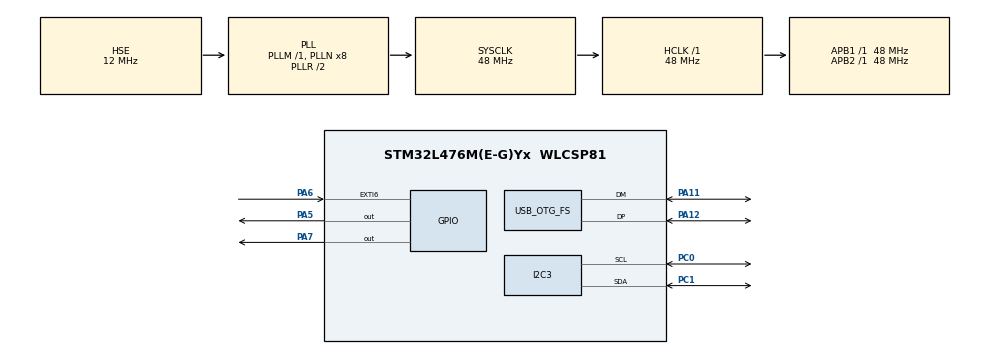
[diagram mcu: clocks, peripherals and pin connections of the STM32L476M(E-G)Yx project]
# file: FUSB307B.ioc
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I2C3.Timing=0x20303E5D
Mcu.Family=STM32L4
Mcu.Name=STM32L476M(E-G)Yx
Mcu.Package=WLCSP81
NVIC.EXTI9_5_IRQn=true\:0\:0\:false\:false\:true\:true\:true
NVIC.PriorityGroup=NVIC_PRIORITYGROUP_4
NVIC.TIM2_IRQn=true\:0\:0\:false\:false\:true\:true\:true
PA11.Mode=Device_Only
PA11.Signal=USB_OTG_FS_DM
PA12.Mode=Device_Only
PA12.Signal=USB_OTG_FS_DP
PA5.Signal=GPIO_Output
PA6.GPIO_ModeDefaultEXTI=GPIO_MODE_IT_FALLING
PA6.Signal=GPXTI6
PA7.Signal=GPIO_Output
PC0.Mode=I2C
PC0.Signal=I2C3_SCL
PC1.Mode=I2C
PC1.Signal=I2C3_SDA
PH0-OSC_IN\ (PH0).Mode=HSE-External-Oscillator
PH0-OSC_IN\ (PH0).Signal=RCC_OSC_IN
PH1-OSC_OUT\ (PH1).Mode=HSE-External-Oscillator
PH1-OSC_OUT\ (PH1).Signal=RCC_OSC_OUT
ProjectManager.HeapSize=0x200
ProjectManager.StackSize=0x400
ProjectManager.TargetToolchain=STM32CubeIDE
RCC.ADCFreq_Value=48000000
RCC.AHBFreq_Value=48000000
RCC.APB1Freq_Value=48000000
RCC.APB1TimFreq_Value=48000000
RCC.APB2Freq_Value=48000000
RCC.APB2TimFreq_Value=48000000
RCC.CortexFreq_Value=48000000
RCC.FLatency-AdvancedSettings=FLASH_LATENCY_0
RCC.HCLKFreq_Value=48000000
RCC.HSE_VALUE=12000000
RCC.HSI_VALUE=16000000
RCC.LSE_VALUE=32768
RCC.MSI_VALUE=4000000
RCC.PLLSourceVirtual=RCC_PLLSOURCE_HSE
RCC.SYSCLKFreq_VALUE=48000000
RCC.SYSCLKSource=RCC_SYSCLKSOURCE_PLLCLK
RCC.USBFreq_Value=48000000
RCC.VCOOutputFreq_Value=96000000
TIM1.AutoReloadPreload=TIM_AUTORELOAD_PRELOAD_DISABLE
TIM1.Period=10000
TIM1.Prescaler=4800
TIM2.AutoReloadPreload=TIM_AUTORELOAD_PRELOAD_DISABLE
TIM2.Period=0xFFFFFFFF
TIM2.Prescaler=48
USB_OTG_FS.VirtualMode=Device_Only
VP_TIM1_VS_ClockSourceINT.Mode=Internal
VP_TIM2_VS_ClockSourceINT.Mode=Internal
VP_TIM3_VS_ClockSourceINT.Mode=Internal
board=custom

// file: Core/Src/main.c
/* USER CODE BEGIN Header */
/**
  ******************************************************************************
  * @file           : main.c
  * @brief          : Main program body
  ******************************************************************************
  * @attention
  *
  * <h2><center>&copy; Copyright (c) 2019 STMicroelectronics.
  * All rights reserved.</center></h2>
  *
  * This software component is licensed by ST under BSD 3-Clause license,
  * the "License"; You may not use this file except in compliance with the
  * License. You may obtain a copy of the License at:
  *                        opensource.org/licenses/BSD-3-Clause
  *
  ******************************************************************************
  */
/* USER CODE END Header */

#include "main.h"

/* USER CODE BEGIN Includes */
#include "FSCTypes.h"
#include "local_platform.h"
#include "port.h"
#include "systempolicy.h"
#include "core.h"
#include "timer.h"
#include "observer.h"
#include "platform.h"
/* USER CODE END Includes */

/* USER CODE BEGIN PD */
#define I2C_ADDRESS_PORT1   0xA0
#define I2C_ADDRESS_PORT2   0xA2
#define I2C_ADDRESS_PORT3   0xA4
/* USER CODE END PD */

I2C_HandleTypeDef hi2c3;

TIM_HandleTypeDef htim1;
TIM_HandleTypeDef htim2;
TIM_HandleTypeDef htim3;

PCD_HandleTypeDef hpcd_USB_OTG_FS;

void SystemClock_Config(void);
static void MX_GPIO_Init(void);
static void MX_I2C3_Init(void);
static void MX_USB_OTG_FS_PCD_Init(void);
static void MX_TIM3_Init(void);
static void MX_TIM2_Init(void);
static void MX_TIM1_Init(void);

/* USER CODE BEGIN 0 */
struct Port g_ports[FSC_NUMBER_OF_PORTS];
volatile FSC_BOOL g_port_active[FSC_NUMBER_OF_PORTS];
volatile FSC_BOOL g_timer_int_active;
FSC_S8 g_IdleIdx;

void WakeOnTimer() {
  FSC_U32 timeout_value;
  FSC_U32 timer_value;
  FSC_U8 j = 0;

  /* Set to the largest value */
  timeout_value = ~0U;
  g_IdleIdx = -1;

  /* Go through all Ports and find the shortest timer  */
  for (j = 0; j < FSC_NUMBER_OF_PORTS; j++) {
    timer_value = core_get_next_timeout(&g_ports[j]);
    /* Get the shortest timer.
     * 0 - No active timer
     * 1 - An active timer has expired, set port to active
     * Other - Set timer interrupt */
    if (timer_value == 0) {
      continue;
    } else if (timer_value == 1) {
      g_ports[j].idle_ = FALSE;
    } else if (timer_value < timeout_value) {
      /* New shorter timer found */
      timeout_value = timer_value;
      g_IdleIdx = j;
    }
  }

  if ((timeout_value < ~0U) &&
      (timeout_value > 0) &&
      (g_IdleIdx > -1)) {
    /* Wake up port[g_IdleIdx] after timeout */
    SetTimeInterrupt(timeout_value);
  }
}
/* USER CODE END 0 */

int main(void)
{

  /* MCU Configuration--------------------------------------------------------*/

  /* Reset of all peripherals, Initializes the Flash interface and the Systick. */
  HAL_Init();

  /* Configure the system clock */
  SystemClock_Config();

  /* Initialize all configured peripherals */
  MX_GPIO_Init();
  MX_I2C3_Init();
  MX_USB_OTG_FS_PCD_Init();
  MX_TIM3_Init();
  MX_TIM2_Init();
  MX_TIM1_Init();
  /* USER CODE BEGIN 2 */
  FSC_U8 i = 0;
  FSC_U32 check_idle = FALSE;

  PlatformInitialize();
  InitializeVars(&g_ports[0], 1, I2C_ADDRESS_PORT1);
  g_port_active[0] = TRUE;

  //FSC_BOOL r = platform_i2c_write(g_ports[0].i2c_addr_, (FSC_U8)0xA2, 1, 1);
  /* USER CODE END 2 */

  /* Infinite loop */
  /* USER CODE BEGIN WHILE */
  while (1) {
     for (i = 0; i < FSC_NUMBER_OF_PORTS; ++i) {
       /* Initializing */
       if (g_ports[i].initialized_ == FALSE) {
         /* If we haven't been initialized yet, wait on the init interrupt */
         if (ReadRegister(&g_ports[i], regPWRSTAT) != FALSE) {
           if (g_ports[i].registers_.PwrStat.TCPC_INIT == 0) {
             /* Chip is ready - initialize and continue. */
        	 HAL_Delay(500);
             InitializePort(&g_ports[i]);
             platform_printf(g_ports[i].port_id_, "Port Initialized.\n", -1);
           }
         }
         continue;
       }

       /* State Machine Processing */
       if (g_port_active[i] || !g_ports[i].idle_) {
         /* Disable interrupt to prevent conflict */
         ClearTimeInterrupt();

         /* Reset for next interrupt */
         g_port_active[i] = FALSE;

         platform_SetDebugPin(TRUE);

         /* Process port */
         core_state_machine(&g_ports[i]);

         //g_ports[i].idle_ = FALSE;

         /* Wait on the next alert/interrupt */
         /* This also allows a final state machine run if still active. */
         if (g_ports[i].idle_) {
           if (platform_get_device_irq_state(g_ports[i].port_id_))
           {
             g_ports[i].idle_ = FALSE;
           }
           else
           {
             check_idle = TRUE;
             platform_SetDebugPin(FALSE);
           }
         }
       }
     }

     if (check_idle == TRUE)
     {
       /* Looks like State Machine can Idle */
       WakeOnTimer();
       check_idle = FALSE;
     }

     /* System Policy process function to handle debug/system IO, etc. */
     SystemPolicyProcess(g_ports);

 #ifdef FSC_HAVE_UART
     /* Make sure the UART buffer gets flushed. */
     ProcessUART();
 #endif
    /* USER CODE END WHILE */

  }
}

void SystemClock_Config(void)
{
  RCC_OscInitTypeDef RCC_OscInitStruct = {0};
  RCC_ClkInitTypeDef RCC_ClkInitStruct = {0};
  RCC_PeriphCLKInitTypeDef PeriphClkInit = {0};

  /** Initializes the CPU, AHB and APB busses clocks
  */
  RCC_OscInitStruct.OscillatorType = RCC_OSCILLATORTYPE_HSE;
  RCC_OscInitStruct.HSEState = RCC_HSE_ON;
  RCC_OscInitStruct.PLL.PLLState = RCC_PLL_ON;
  RCC_OscInitStruct.PLL.PLLSource = RCC_PLLSOURCE_HSE;
  RCC_OscInitStruct.PLL.PLLM = 1;
  RCC_OscInitStruct.PLL.PLLN = 8;
  RCC_OscInitStruct.PLL.PLLP = RCC_PLLP_DIV7;
  RCC_OscInitStruct.PLL.PLLQ = RCC_PLLQ_DIV2;
  RCC_OscInitStruct.PLL.PLLR = RCC_PLLR_DIV2;
  if (HAL_RCC_OscConfig(&RCC_OscInitStruct) != HAL_OK)
  {
    Error_Handler();
  }
  /** Initializes the CPU, AHB and APB busses clocks
  */
  RCC_ClkInitStruct.ClockType = RCC_CLOCKTYPE_HCLK|RCC_CLOCKTYPE_SYSCLK
                              |RCC_CLOCKTYPE_PCLK1|RCC_CLOCKTYPE_PCLK2;
  RCC_ClkInitStruct.SYSCLKSource = RCC_SYSCLKSOURCE_PLLCLK;
  RCC_ClkInitStruct.AHBCLKDivider = RCC_SYSCLK_DIV1;
  RCC_ClkInitStruct.APB1CLKDivider = RCC_HCLK_DIV1;
  RCC_ClkInitStruct.APB2CLKDivider = RCC_HCLK_DIV1;

  if (HAL_RCC_ClockConfig(&RCC_ClkInitStruct, FLASH_LATENCY_2) != HAL_OK)
  {
    Error_Handler();
  }
  PeriphClkInit.PeriphClockSelection = RCC_PERIPHCLK_I2C3|RCC_PERIPHCLK_USB;
  PeriphClkInit.I2c3ClockSelection = RCC_I2C3CLKSOURCE_PCLK1;
  PeriphClkInit.UsbClockSelection = RCC_USBCLKSOURCE_PLLSAI1;
  PeriphClkInit.PLLSAI1.PLLSAI1Source = RCC_PLLSOURCE_HSE;
  PeriphClkInit.PLLSAI1.PLLSAI1M = 1;
  PeriphClkInit.PLLSAI1.PLLSAI1N = 8;
  PeriphClkInit.PLLSAI1.PLLSAI1P = RCC_PLLP_DIV7;
  PeriphClkInit.PLLSAI1.PLLSAI1Q = RCC_PLLQ_DIV2;
  PeriphClkInit.PLLSAI1.PLLSAI1R = RCC_PLLR_DIV2;
  PeriphClkInit.PLLSAI1.PLLSAI1ClockOut = RCC_PLLSAI1_48M2CLK;
  if (HAL_RCCEx_PeriphCLKConfig(&PeriphClkInit) != HAL_OK)
  {
    Error_Handler();
  }
  /** Configure the main internal regulator output voltage
  */
  if (HAL_PWREx_ControlVoltageScaling(PWR_REGULATOR_VOLTAGE_SCALE1) != HAL_OK)
  {
    Error_Handler();
  }
}

static void MX_I2C3_Init(void)
{

  hi2c3.Instance = I2C3;
  hi2c3.Init.Timing = 0x20303E5D;
  hi2c3.Init.OwnAddress1 = 0;
  hi2c3.Init.AddressingMode = I2C_ADDRESSINGMODE_7BIT;
  hi2c3.Init.DualAddressMode = I2C_DUALADDRESS_DISABLE;
  hi2c3.Init.OwnAddress2 = 0;
  hi2c3.Init.OwnAddress2Masks = I2C_OA2_NOMASK;
  hi2c3.Init.GeneralCallMode = I2C_GENERALCALL_DISABLE;
  hi2c3.Init.NoStretchMode = I2C_NOSTRETCH_DISABLE;
  if (HAL_I2C_Init(&hi2c3) != HAL_OK)
  {
    Error_Handler();
  }
  /** Configure Analogue filter
  */
  if (HAL_I2CEx_ConfigAnalogFilter(&hi2c3, I2C_ANALOGFILTER_ENABLE) != HAL_OK)
  {
    Error_Handler();
  }
  /** Configure Digital filter
  */
  if (HAL_I2CEx_ConfigDigitalFilter(&hi2c3, 0) != HAL_OK)
  {
    Error_Handler();
  }

}

static void MX_TIM1_Init(void)
{

  TIM_ClockConfigTypeDef sClockSourceConfig = {0};
  TIM_MasterConfigTypeDef sMasterConfig = {0};

  htim1.Instance = TIM1;
  htim1.Init.Prescaler = 4800;
  htim1.Init.CounterMode = TIM_COUNTERMODE_UP;
  htim1.Init.Period = 10000;
  htim1.Init.ClockDivision = TIM_CLOCKDIVISION_DIV1;
  htim1.Init.RepetitionCounter = 0;
  htim1.Init.AutoReloadPreload = TIM_AUTORELOAD_PRELOAD_DISABLE;
  if (HAL_TIM_Base_Init(&htim1) != HAL_OK)
  {
    Error_Handler();
  }
  sClockSourceConfig.ClockSource = TIM_CLOCKSOURCE_INTERNAL;
  if (HAL_TIM_ConfigClockSource(&htim1, &sClockSourceConfig) != HAL_OK)
  {
    Error_Handler();
  }
  sMasterConfig.MasterOutputTrigger = TIM_TRGO_RESET;
  sMasterConfig.MasterOutputTrigger2 = TIM_TRGO2_RESET;
  sMasterConfig.MasterSlaveMode = TIM_MASTERSLAVEMODE_DISABLE;
  if (HAL_TIMEx_MasterConfigSynchronization(&htim1, &sMasterConfig) != HAL_OK)
  {
    Error_Handler();
  }

}

static void MX_TIM2_Init(void)
{

  TIM_ClockConfigTypeDef sClockSourceConfig = {0};
  TIM_MasterConfigTypeDef sMasterConfig = {0};

  htim2.Instance = TIM2;
  htim2.Init.Prescaler = 48;
  htim2.Init.CounterMode = TIM_COUNTERMODE_UP;
  htim2.Init.Period = 0xFFFFFFFF;
  htim2.Init.ClockDivision = TIM_CLOCKDIVISION_DIV1;
  htim2.Init.AutoReloadPreload = TIM_AUTORELOAD_PRELOAD_DISABLE;
  if (HAL_TIM_Base_Init(&htim2) != HAL_OK)
  {
    Error_Handler();
  }
  sClockSourceConfig.ClockSource = TIM_CLOCKSOURCE_INTERNAL;
  if (HAL_TIM_ConfigClockSource(&htim2, &sClockSourceConfig) != HAL_OK)
  {
    Error_Handler();
  }
  sMasterConfig.MasterOutputTrigger = TIM_TRGO_RESET;
  sMasterConfig.MasterSlaveMode = TIM_MASTERSLAVEMODE_DISABLE;
  if (HAL_TIMEx_MasterConfigSynchronization(&htim2, &sMasterConfig) != HAL_OK)
  {
    Error_Handler();
  }

}

static void MX_TIM3_Init(void)
{

  TIM_ClockConfigTypeDef sClockSourceConfig = {0};
  TIM_MasterConfigTypeDef sMasterConfig = {0};

  htim3.Instance = TIM3;
  htim3.Init.Prescaler = 0;
  htim3.Init.CounterMode = TIM_COUNTERMODE_UP;
  htim3.Init.Period = 0;
  htim3.Init.ClockDivision = TIM_CLOCKDIVISION_DIV1;
  htim3.Init.AutoReloadPreload = TIM_AUTORELOAD_PRELOAD_DISABLE;
  if (HAL_TIM_Base_Init(&htim3) != HAL_OK)
  {
    Error_Handler();
  }
  sClockSourceConfig.ClockSource = TIM_CLOCKSOURCE_INTERNAL;
  if (HAL_TIM_ConfigClockSource(&htim3, &sClockSourceConfig) != HAL_OK)
  {
    Error_Handler();
  }
  sMasterConfig.MasterOutputTrigger = TIM_TRGO_RESET;
  sMasterConfig.MasterSlaveMode = TIM_MASTERSLAVEMODE_DISABLE;
  if (HAL_TIMEx_MasterConfigSynchronization(&htim3, &sMasterConfig) != HAL_OK)
  {
    Error_Handler();
  }

}

static void MX_USB_OTG_FS_PCD_Init(void)
{

  hpcd_USB_OTG_FS.Instance = USB_OTG_FS;
  hpcd_USB_OTG_FS.Init.dev_endpoints = 6;
  hpcd_USB_OTG_FS.Init.speed = PCD_SPEED_FULL;
  hpcd_USB_OTG_FS.Init.phy_itface = PCD_PHY_EMBEDDED;
  hpcd_USB_OTG_FS.Init.Sof_enable = DISABLE;
  hpcd_USB_OTG_FS.Init.low_power_enable = DISABLE;
  hpcd_USB_OTG_FS.Init.lpm_enable = DISABLE;
  hpcd_USB_OTG_FS.Init.battery_charging_enable = DISABLE;
  hpcd_USB_OTG_FS.Init.use_dedicated_ep1 = DISABLE;
  hpcd_USB_OTG_FS.Init.vbus_sensing_enable = DISABLE;
  if (HAL_PCD_Init(&hpcd_USB_OTG_FS) != HAL_OK)
  {
    Error_Handler();
  }

}

static void MX_GPIO_Init(void)
{
  GPIO_InitTypeDef GPIO_InitStruct = {0};

  /* GPIO Ports Clock Enable */
  __HAL_RCC_GPIOA_CLK_ENABLE();
  __HAL_RCC_GPIOH_CLK_ENABLE();
  __HAL_RCC_GPIOC_CLK_ENABLE();

  /*Configure GPIO pin Output Level */
  HAL_GPIO_WritePin(GPIOA, GPIO_PIN_7|GPIO_PIN_5, GPIO_PIN_RESET);

  /*Configure GPIO pins : PA7 PA5 */
  GPIO_InitStruct.Pin = GPIO_PIN_7|GPIO_PIN_5;
  GPIO_InitStruct.Mode = GPIO_MODE_OUTPUT_PP;
  GPIO_InitStruct.Pull = GPIO_NOPULL;
  GPIO_InitStruct.Speed = GPIO_SPEED_FREQ_LOW;
  HAL_GPIO_Init(GPIOA, &GPIO_InitStruct);

  /*Configure GPIO pin : PA6 */
  GPIO_InitStruct.Pin = GPIO_PIN_6;
  GPIO_InitStruct.Mode = GPIO_MODE_IT_FALLING;
  GPIO_InitStruct.Pull = GPIO_NOPULL;
  HAL_GPIO_Init(GPIOA, &GPIO_InitStruct);

  /* EXTI interrupt init*/
  HAL_NVIC_SetPriority(EXTI9_5_IRQn, 0, 0);
  HAL_NVIC_EnableIRQ(EXTI9_5_IRQn);

}

void Error_Handler(void)
{
}

/************************ (C) COPYRIGHT STMicroelectronics *****END OF FILE****/
